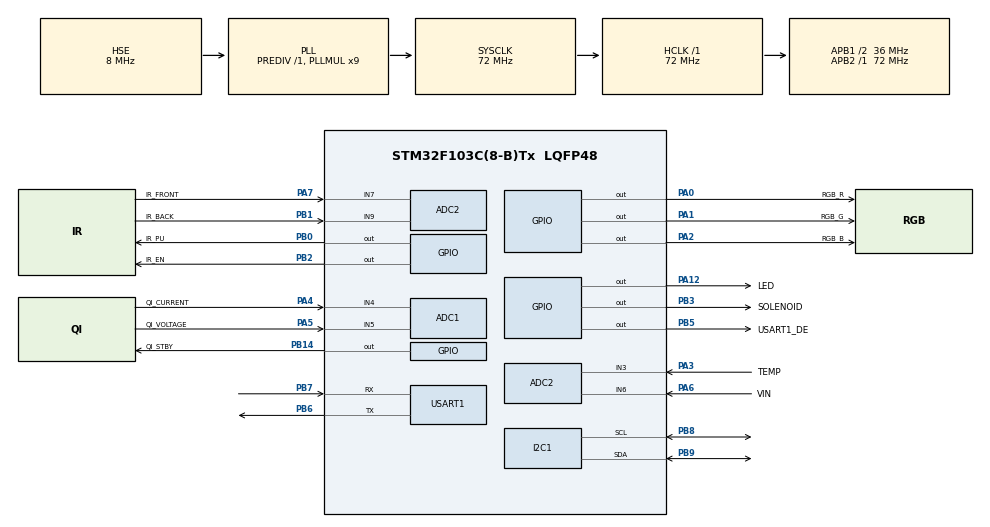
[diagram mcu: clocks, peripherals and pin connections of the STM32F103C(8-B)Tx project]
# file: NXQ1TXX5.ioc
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ADC1.Channel-0\#ChannelRegularConversion=ADC_CHANNEL_4
ADC1.Channel-1\#ChannelRegularConversion=ADC_CHANNEL_5
ADC1.ContinuousConvMode=DISABLE
ADC1.ExternalTrigConv=ADC_EXTERNALTRIGCONV_T3_TRGO
ADC1.NbrOfConversion=2
ADC1.NbrOfConversionFlag=1
ADC1.Rank-0\#ChannelRegularConversion=1
ADC1.Rank-1\#ChannelRegularConversion=2
ADC1.SamplingTime-0\#ChannelRegularConversion=ADC_SAMPLETIME_1CYCLE_5
ADC1.SamplingTime-1\#ChannelRegularConversion=ADC_SAMPLETIME_1CYCLE_5
ADC1.master=1
ADC2.Channel-6\#ChannelInjectedConversion=ADC_CHANNEL_3
ADC2.Channel-7\#ChannelInjectedConversion=ADC_CHANNEL_6
ADC2.Channel-8\#ChannelInjectedConversion=ADC_CHANNEL_7
ADC2.Channel-9\#ChannelInjectedConversion=ADC_CHANNEL_9
ADC2.EnableInjectedConversion=ENABLE
ADC2.EnableRegularConversion=DISABLE
ADC2.ExternalTrigInjecConv=ADC_EXTERNALTRIGINJECCONV_T4_TRGO
ADC2.InjNumberOfConversion=4
ADC2.InjectedConvMode=None
ADC2.InjectedOffset-6\#ChannelInjectedConversion=0
ADC2.InjectedOffset-7\#ChannelInjectedConversion=0
ADC2.InjectedOffset-8\#ChannelInjectedConversion=0
ADC2.InjectedOffset-9\#ChannelInjectedConversion=0
ADC2.InjectedRank-6\#ChannelInjectedConversion=1
ADC2.InjectedRank-7\#ChannelInjectedConversion=2
ADC2.InjectedRank-8\#ChannelInjectedConversion=3
ADC2.InjectedRank-9\#ChannelInjectedConversion=4
ADC2.SamplingTime-6\#ChannelInjectedConversion=ADC_SAMPLETIME_239CYCLES_5
ADC2.SamplingTime-7\#ChannelInjectedConversion=ADC_SAMPLETIME_239CYCLES_5
ADC2.SamplingTime-8\#ChannelInjectedConversion=ADC_SAMPLETIME_239CYCLES_5
ADC2.SamplingTime-9\#ChannelInjectedConversion=ADC_SAMPLETIME_239CYCLES_5
Dma.ADC1.0.Direction=DMA_PERIPH_TO_MEMORY
Dma.ADC1.0.Instance=DMA1_Channel1
Dma.ADC1.0.MemDataAlignment=DMA_MDATAALIGN_HALFWORD
Dma.ADC1.0.MemInc=DMA_MINC_ENABLE
Dma.ADC1.0.Mode=DMA_CIRCULAR
Dma.ADC1.0.PeriphDataAlignment=DMA_PDATAALIGN_HALFWORD
Dma.ADC1.0.PeriphInc=DMA_PINC_DISABLE
Dma.ADC1.0.Priority=DMA_PRIORITY_VERY_HIGH
Dma.Request0=ADC1
Mcu.Family=STM32F1
Mcu.Name=STM32F103C(8-B)Tx
Mcu.Package=LQFP48
Mcu.UserConstants=ADC_LS_TIM,$$_TIM4_IP_HANDLE_$$;ADC_HS_TIM,$$_TIM3_IP_HANDLE_$$;ADC_HS,$$_ADC1_IP_HANDLE_$$;ADC_LS,$$_ADC2_IP_HANDLE_$$
NVIC.ADC1_2_IRQn=true\:0\:0\:false\:false\:true\:true\:true\:true
NVIC.DMA1_Channel1_IRQn=true\:0\:0\:false\:false\:true\:false\:true\:true
NVIC.I2C1_ER_IRQn=true\:0\:0\:false\:false\:true\:true\:true\:true
NVIC.I2C1_EV_IRQn=true\:0\:0\:false\:false\:true\:true\:true\:true
NVIC.PriorityGroup=NVIC_PRIORITYGROUP_4
PA0-WKUP.GPIO_Label=RGB_R
PA0-WKUP.GPIO_ModeDefaultOutputPP=GPIO_MODE_OUTPUT_PP
PA0-WKUP.GPIO_PuPd=GPIO_NOPULL
PA0-WKUP.GPIO_Speed=GPIO_SPEED_FREQ_LOW
PA0-WKUP.PinState=GPIO_PIN_RESET
PA0-WKUP.Signal=GPIO_Output
PA1.GPIO_Label=RGB_G
PA1.GPIO_ModeDefaultOutputPP=GPIO_MODE_OUTPUT_PP
PA1.GPIO_PuPd=GPIO_NOPULL
PA1.GPIO_Speed=GPIO_SPEED_FREQ_LOW
PA1.PinState=GPIO_PIN_RESET
PA1.Signal=GPIO_Output
PA12.GPIO_Label=LED
PA12.Signal=GPIO_Output
PA13.Mode=Serial_Wire
PA13.Signal=SYS_JTMS-SWDIO
PA14.Mode=Serial_Wire
PA14.Signal=SYS_JTCK-SWCLK
PA2.GPIO_Label=RGB_B
PA2.GPIO_ModeDefaultOutputPP=GPIO_MODE_OUTPUT_PP
PA2.GPIO_PuPd=GPIO_NOPULL
PA2.GPIO_Speed=GPIO_SPEED_FREQ_LOW
PA2.PinState=GPIO_PIN_RESET
PA2.Signal=GPIO_Output
PA3.GPIO_Label=TEMP
PA3.Signal=ADCx_IN3
PA4.GPIO_Label=QI_CURRENT
PA4.Signal=ADCx_IN4
PA5.GPIO_Label=QI_VOLTAGE
PA5.Signal=ADCx_IN5
PA6.GPIO_Label=VIN
PA6.Signal=ADCx_IN6
PA7.GPIO_Label=IR_FRONT
PA7.Signal=ADCx_IN7
PB0.GPIO_Label=IR_PU
PB0.Signal=GPIO_Output
PB1.GPIO_Label=IR_BACK
PB1.Signal=ADCx_IN9
PB14.GPIO_Label=QI_STBY
PB14.GPIO_ModeDefaultOutputPP=GPIO_MODE_OUTPUT_OD
PB14.GPIO_PuPd=GPIO_NOPULL
PB14.PinState=GPIO_PIN_SET
PB14.Signal=GPIO_Output
PB2.GPIO_Label=IR_EN
PB2.GPIO_ModeDefaultOutputPP=GPIO_MODE_OUTPUT_OD
PB2.GPIO_PuPd=GPIO_NOPULL
PB2.PinState=GPIO_PIN_SET
PB2.Signal=GPIO_Output
PB3.GPIO_Label=SOLENOID
PB3.Signal=GPIO_Output
PB5.GPIO_Label=USART1_DE
PB5.GPIO_Speed=GPIO_SPEED_FREQ_HIGH
PB5.Signal=GPIO_Output
PB6.Mode=Asynchronous
PB6.Signal=USART1_TX
PB7.Mode=Asynchronous
PB7.Signal=USART1_RX
PB8.Mode=I2C
PB8.Signal=I2C1_SCL
PB9.Mode=I2C
PB9.Signal=I2C1_SDA
PD0-OSC_IN.Mode=HSE-External-Oscillator
PD0-OSC_IN.Signal=RCC_OSC_IN
PD1-OSC_OUT.Mode=HSE-External-Oscillator
PD1-OSC_OUT.Signal=RCC_OSC_OUT
ProjectManager.HeapSize=0x200
ProjectManager.StackSize=0x400
ProjectManager.TargetToolchain=EWARM V8.32
RCC.ADCPresc=RCC_ADCPCLK2_DIV6
RCC.AHBFreq_Value=72000000
RCC.APB1CLKDivider=RCC_HCLK_DIV2
RCC.APB1Freq_Value=36000000
RCC.APB1TimFreq_Value=72000000
RCC.APB2Freq_Value=72000000
RCC.APB2TimFreq_Value=72000000
RCC.EnbaleCSS=true
RCC.HCLKFreq_Value=72000000
RCC.PLLMUL=RCC_PLL_MUL9
RCC.PLLSourceVirtual=RCC_PLLSOURCE_HSE
RCC.SYSCLKFreq_VALUE=72000000
RCC.SYSCLKSource=RCC_SYSCLKSOURCE_PLLCLK
RCC.USBFreq_Value=72000000
SH.ADCx_IN3.0=ADC2_IN3,IN3
SH.ADCx_IN4.0=ADC1_IN4,IN4
SH.ADCx_IN5.0=ADC1_IN5,IN5
SH.ADCx_IN6.0=ADC2_IN6,IN6
SH.ADCx_IN7.0=ADC2_IN7,IN7
SH.ADCx_IN9.0=ADC2_IN9,IN9
TIM3.AutoReloadPreload=TIM_AUTORELOAD_PRELOAD_ENABLE
TIM3.Period=2-1
TIM3.Prescaler=72000000/1000000-1
TIM4.AutoReloadPreload=TIM_AUTORELOAD_PRELOAD_ENABLE
TIM4.Period=1000000/1000-1
TIM4.Prescaler=72000000/1000000-1
TIM4.TIM_MasterOutputTrigger=TIM_TRGO_UPDATE
USART1.VirtualMode=VM_ASYNC
VP_TIM3_VS_ClockSourceINT.Mode=Internal
VP_TIM4_VS_ClockSourceINT.Mode=Internal
board=custom

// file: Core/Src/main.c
/* USER CODE BEGIN Header */
/**
 ******************************************************************************
 * @file           : main.c
 * @brief          : Main program body
 ******************************************************************************
 * @attention
 *
 * Copyright (c) 2024 STMicroelectronics.
 * All rights reserved.
 *
 * This software is licensed under terms that can be found in the LICENSE file
 * in the root directory of this software component.
 * If no LICENSE file comes with this software, it is provided AS-IS.
 *
 ******************************************************************************
 */
/* USER CODE END Header */
#include "main.h"
#include "adc.h"
#include "dma.h"
#include "gpio.h"
#include "i2c.h"
#include "tim.h"
#include "usart.h"

/* USER CODE BEGIN Includes */
#include "nxq1txx5.h"
/* USER CODE END Includes */

/* USER CODE BEGIN PV */
nxq1txx5_t *nxq = &(nxq1txx5_t){0};
/* USER CODE END PV */

void SystemClock_Config(void);

int main(void)
{

    /* MCU Configuration--------------------------------------------------------*/

    /* Reset of all peripherals, Initializes the Flash interface and the Systick. */
    HAL_Init();

    /* Configure the system clock */
    SystemClock_Config();

    /* Initialize all configured peripherals */
    MX_GPIO_Init();
    MX_DMA_Init();
    MX_ADC1_Init();
    MX_USART1_UART_Init();
    MX_ADC2_Init();
    MX_TIM3_Init();
    MX_TIM4_Init();
    MX_I2C1_Init();
    /* USER CODE BEGIN 2 */
    IR_START;
    HAL_ADCEx_Calibration_Start(&ADC_LS);
    HAL_ADCEx_InjectedStart_IT(&ADC_LS);
    HAL_TIM_Base_Start(&ADC_LS_TIM); // Trigger the low speed ADC conversion

#pragma region NXQ_DRIVER_USAGE
    NXQ_STBY_OFF; // Not implemented by driver because of poor pin functionality (used once after power up)
    NXQ1TXX5_Link(nxq, NXQ1TXX5_I2C1_Receive, NXQ1TXX5_I2C1_Transmit); // Blocking transfer test
    NXQ1TXX5_Charge(nxq, NXQ1TXX5_CHARGE_OFF);
    HAL_Delay(5000);
    NXQ1TXX5_Charge(nxq, NXQ1TXX5_CHARGE_ON);

    /* Wait for the device to switch to charging mode.
     * Otherwise not all device registers are updated with valid values */
    while (true)
    {
        NXQ1TXX5_SystemStatus(nxq);
        if (nxq->operation == NXQ1TXX5_OPERATION_CHARGE)
        {
            /* NXQ1TXX5 enters to charge mode to check for
             * a receiver on the transmitter base.
             * So we should ensure that QI receiver is really
             * placed by requesting operation again after ~1000ms. */
            HAL_Delay(1000);
            NXQ1TXX5_SystemStatus(nxq);
            if (nxq->operation == NXQ1TXX5_OPERATION_CHARGE)
                break;
        }
    }
    NXQ1TXX5_Link(nxq, NXQ1TXX5_I2C1_Receive_IT, NXQ1TXX5_I2C1_Transmit_IT); // IT transfer test
    /* USER CODE END 2 */

    /* Infinite loop */
    /* USER CODE BEGIN WHILE */
    while (1)
    {

        static int taskStep = 0;
        if (nxq->process == NXQ1TXX5_PROCESS_IDLE) // Wait until the current task is finished
        {
            switch (taskStep)
            {
            case 0:
                NXQ1TXX5_Temperature(nxq);
                break;
            case 1:
                NXQ1TXX5_SupplyVoltage(nxq);
                break;
            case 2:
                NXQ1TXX5_NTCVoltage(nxq);
                taskStep = -1; // All tasks complete, reset counter
                break;
            }
            taskStep++;
        }
#pragma endregion NXQ_DRIVER_USAGE

        HAL_GPIO_TogglePin(RGB_R_GPIO_Port, RGB_R_Pin | RGB_G_Pin | RGB_B_Pin);
        HAL_Delay(1);
        HAL_GPIO_TogglePin(RGB_R_GPIO_Port, RGB_R_Pin | RGB_G_Pin | RGB_B_Pin);
        HAL_Delay(100);
        /* USER CODE END WHILE */

    }
}

void SystemClock_Config(void)
{
    RCC_OscInitTypeDef RCC_OscInitStruct = {0};
    RCC_ClkInitTypeDef RCC_ClkInitStruct = {0};
    RCC_PeriphCLKInitTypeDef PeriphClkInit = {0};

    /** Initializes the RCC Oscillators according to the specified parameters
     * in the RCC_OscInitTypeDef structure.
     */
    RCC_OscInitStruct.OscillatorType = RCC_OSCILLATORTYPE_HSE;
    RCC_OscInitStruct.HSEState = RCC_HSE_ON;
    RCC_OscInitStruct.HSEPredivValue = RCC_HSE_PREDIV_DIV1;
    RCC_OscInitStruct.HSIState = RCC_HSI_ON;
    RCC_OscInitStruct.PLL.PLLState = RCC_PLL_ON;
    RCC_OscInitStruct.PLL.PLLSource = RCC_PLLSOURCE_HSE;
    RCC_OscInitStruct.PLL.PLLMUL = RCC_PLL_MUL9;
    if (HAL_RCC_OscConfig(&RCC_OscInitStruct) != HAL_OK)
    {
        Error_Handler();
    }

    /** Initializes the CPU, AHB and APB buses clocks
     */
    RCC_ClkInitStruct.ClockType = RCC_CLOCKTYPE_HCLK | RCC_CLOCKTYPE_SYSCLK | RCC_CLOCKTYPE_PCLK1 | RCC_CLOCKTYPE_PCLK2;
    RCC_ClkInitStruct.SYSCLKSource = RCC_SYSCLKSOURCE_PLLCLK;
    RCC_ClkInitStruct.AHBCLKDivider = RCC_SYSCLK_DIV1;
    RCC_ClkInitStruct.APB1CLKDivider = RCC_HCLK_DIV2;
    RCC_ClkInitStruct.APB2CLKDivider = RCC_HCLK_DIV1;

    if (HAL_RCC_ClockConfig(&RCC_ClkInitStruct, FLASH_LATENCY_2) != HAL_OK)
    {
        Error_Handler();
    }
    PeriphClkInit.PeriphClockSelection = RCC_PERIPHCLK_ADC;
    PeriphClkInit.AdcClockSelection = RCC_ADCPCLK2_DIV6;
    if (HAL_RCCEx_PeriphCLKConfig(&PeriphClkInit) != HAL_OK)
    {
        Error_Handler();
    }

    /** Enables the Clock Security System
     */
    HAL_RCC_EnableCSS();
}

/* USER CODE BEGIN 4 */
void HAL_ADCEx_InjectedConvCpltCallback(ADC_HandleTypeDef *hadc)
{
    static float temperature;
    static float vin;
    static float irFront;
    static float irBack;

    temperature = ADC_TemperatureGet(HAL_ADCEx_InjectedGetValue(&ADC_LS, ADC_INJECTED_RANK_1));
    vin = ADC_VinGet(HAL_ADCEx_InjectedGetValue(&ADC_LS, ADC_INJECTED_RANK_2));
    irFront = ADC_LsbToVoltage(HAL_ADCEx_InjectedGetValue(&ADC_LS, ADC_INJECTED_RANK_3));
    irBack = ADC_LsbToVoltage(HAL_ADCEx_InjectedGetValue(&ADC_LS, ADC_INJECTED_RANK_4));

    HAL_ADCEx_InjectedStart_IT(&ADC_LS);
    // HAL_GPIO_TogglePin(LED_GPIO_Port, LED_Pin); // FIXME: look at the ADC sampling freq
}

void HAL_I2C_MemTxCpltCallback(I2C_HandleTypeDef *hi2c)
{
    NXQ1TXX5_Callback(nxq);
}

void HAL_I2C_MemRxCpltCallback(I2C_HandleTypeDef *hi2c)
{
    NXQ1TXX5_Callback(nxq);
}
/* USER CODE END 4 */

void Error_Handler(void)
{
    __disable_irq();
    while (1) {}
}
